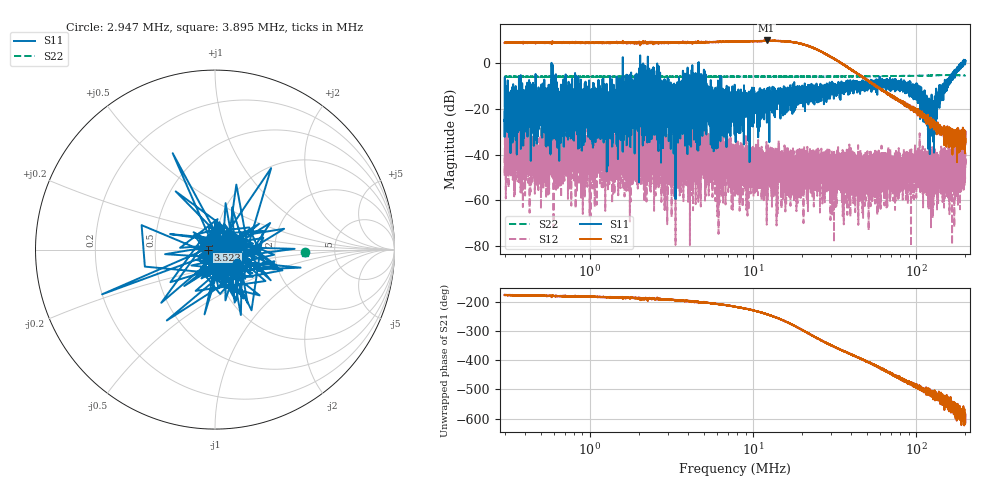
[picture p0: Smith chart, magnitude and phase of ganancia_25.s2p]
# Hz S DB R 50
! CMT, M5065, 19127446, 24.2.4/2
! Date: 11/1/2024 3:26:57 PM
! Data: Format (Calibration Info)
! Freq	S11:dB/Ang(F2)	S21:dB/Ang(F2)	S12:dB/Ang(F2)	S22:dB/Ang(F2)
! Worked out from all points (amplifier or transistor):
!   9000 points, 300 kHz to 200 MHz, reference 50 ohm
!   highest |S21| = 9.8 dB at 12.09 MHz (marker M1)
!   |S21| within 3 dB of that: start of sweep to 22.85 MHz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
!   unconditionally stable (mu >= 1): 2.37 MHz to 4.6 MHz; 4.651 MHz to 188.1 MHz; 188.3 MHz to 190.6 MHz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
!   at 886.8 kHz: K = 26.30, MAG = 10.1 dB, |S12| = -45.8 dB
!   at 7.749 MHz: K = 9.36, MAG = 10.7 dB, |S12| = -37.4 dB
!   at 200 MHz: K = -568.05, MSG = 3.0 dB, |S12| = -41.4 dB
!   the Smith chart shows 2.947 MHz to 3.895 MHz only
!   S11 on the Smith chart (normalised r, x): 2.947 MHz: 1.26, -0.19; 3.523 MHz: 0.92, -0.00; 3.895 MHz: 1.25, +0.00
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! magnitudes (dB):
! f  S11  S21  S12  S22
! 300 kHz  -21.2  8.8  -40.5  -6.0
! 485.4 kHz  -18.3  8.8  -45.6  -6.0
! 600.7 kHz  -14.3  8.9  -35.8  -6.0
! 641.6 kHz  -21.8  8.8  -29.9  -6.0
! 690.1 kHz  -36.6  8.8  -34.0  -6.1
! 886.8 kHz  -24.6  8.9  -45.8  -6.0
! 2.621 MHz  -20.2  8.7  -35.2  -6.0
! 2.947 MHz  -16.9  8.8  -39.1  -6.0
! 3.523 MHz  -28.0  8.9  -45.5  -6.0
! 3.895 MHz  -19.0  8.9  -34.5  -5.9
! 7.749 MHz  -19.1  9.3  -37.4  -5.9
! 12.09 MHz  -13.4  9.8  -46.6  -6.0
! 22.91 MHz  -11.0  6.8  -44.9  -6.0
! 28.59 MHz  -13.7  3.6  -36.8  -6.0
! 30.49 MHz  -10.2  2.2  -47.7  -5.9
! 33.79 MHz  -10.8  0.6  -41.9  -5.9
! 67.71 MHz  -8.7  -13.5  -44.3  -5.7
! 100.3 MHz  -8.8  -21.7  -41.5  -5.6
! 124.3 MHz  -24.4  -25.3  -51.0  -5.5
! 145 MHz  -12.6  -30.5  -60.7  -5.3
! 179.5 MHz  -2.7  -28.3  -46.3  -5.3
! 200 MHz  0.9  -35.5  -41.4  -5.4
